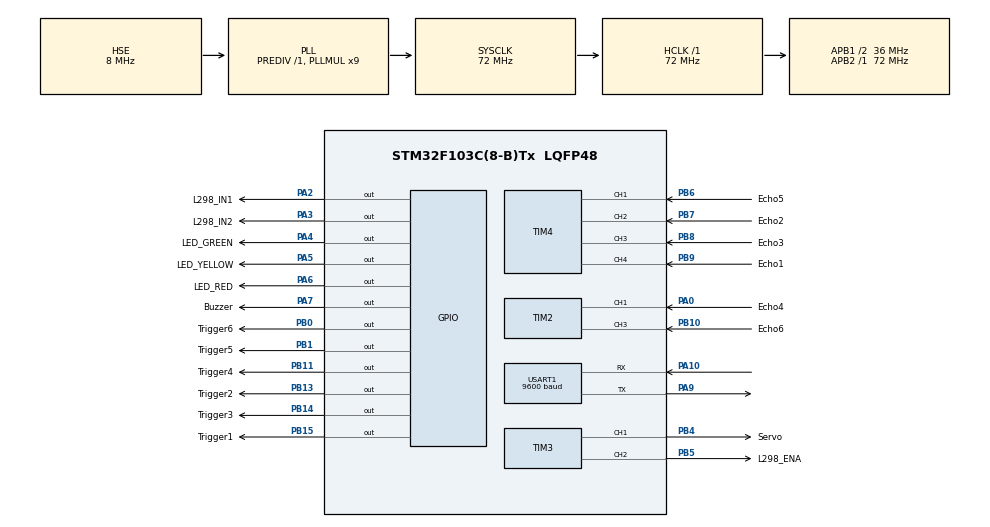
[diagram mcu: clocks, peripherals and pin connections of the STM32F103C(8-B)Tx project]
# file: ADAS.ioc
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Mcu.Family=STM32F1
Mcu.Name=STM32F103C(8-B)Tx
Mcu.Package=LQFP48
NVIC.PriorityGroup=NVIC_PRIORITYGROUP_4
NVIC.TIM2_IRQn=true\:0\:0\:false\:false\:true\:true\:true\:true
NVIC.TIM3_IRQn=true\:0\:0\:false\:false\:true\:true\:true\:true
NVIC.TIM4_IRQn=true\:0\:0\:false\:false\:true\:true\:true\:true
NVIC.USART1_IRQn=true\:0\:0\:false\:false\:true\:true\:true\:true
PA0-WKUP.GPIO_Label=Echo4
PA0-WKUP.Signal=S_TIM2_CH1_ETR
PA10.Mode=Asynchronous
PA10.Signal=USART1_RX
PA13.Mode=Serial_Wire
PA13.Signal=SYS_JTMS-SWDIO
PA14.Mode=Serial_Wire
PA14.Signal=SYS_JTCK-SWCLK
PA2.GPIO_Label=L298_IN1
PA2.Signal=GPIO_Output
PA3.GPIO_Label=L298_IN2
PA3.Signal=GPIO_Output
PA4.GPIO_Label=LED_GREEN
PA4.Signal=GPIO_Output
PA5.GPIO_Label=LED_YELLOW
PA5.Signal=GPIO_Output
PA6.GPIO_Label=LED_RED
PA6.Signal=GPIO_Output
PA7.GPIO_Label=Buzzer
PA7.Signal=GPIO_Output
PA9.Mode=Asynchronous
PA9.Signal=USART1_TX
PB0.GPIO_Label=Trigger6
PB0.Signal=GPIO_Output
PB1.GPIO_Label=Trigger5
PB1.Signal=GPIO_Output
PB10.GPIO_Label=Echo6
PB10.Signal=S_TIM2_CH3
PB11.GPIO_Label=Trigger4
PB11.Signal=GPIO_Output
PB13.GPIO_Label=Trigger2
PB13.Signal=GPIO_Output
PB14.GPIO_Label=Trigger3
PB14.Signal=GPIO_Output
PB15.GPIO_Label=Trigger1
PB15.Signal=GPIO_Output
PB4.GPIO_Label=Servo
PB4.Signal=S_TIM3_CH1
PB5.GPIO_Label=L298_ENA
PB5.Signal=S_TIM3_CH2
PB6.GPIO_Label=Echo5
PB6.Signal=S_TIM4_CH1
PB7.GPIO_Label=Echo2
PB7.Signal=S_TIM4_CH2
PB8.GPIO_Label=Echo3
PB8.Signal=S_TIM4_CH3
PB9.GPIO_Label=Echo1
PB9.Signal=S_TIM4_CH4
PD0-OSC_IN.Mode=HSE-External-Oscillator
PD0-OSC_IN.Signal=RCC_OSC_IN
PD1-OSC_OUT.Mode=HSE-External-Oscillator
PD1-OSC_OUT.Signal=RCC_OSC_OUT
ProjectManager.HeapSize=0x200
ProjectManager.StackSize=0x400
ProjectManager.TargetToolchain=STM32CubeIDE
RCC.AHBFreq_Value=72000000
RCC.APB1CLKDivider=RCC_HCLK_DIV2
RCC.APB1Freq_Value=36000000
RCC.APB1TimFreq_Value=72000000
RCC.APB2Freq_Value=72000000
RCC.APB2TimFreq_Value=72000000
RCC.HCLKFreq_Value=72000000
RCC.PLLMUL=RCC_PLL_MUL9
RCC.PLLSourceVirtual=RCC_PLLSOURCE_HSE
RCC.SYSCLKFreq_VALUE=72000000
RCC.SYSCLKSource=RCC_SYSCLKSOURCE_PLLCLK
RCC.USBFreq_Value=72000000
SH.S_TIM2_CH1_ETR.0=TIM2_CH1,Input_Capture1_from_TI1
SH.S_TIM2_CH3.0=TIM2_CH3,Input_Capture3_from_TI3
SH.S_TIM3_CH1.0=TIM3_CH1,PWM Generation1 CH1
SH.S_TIM3_CH2.0=TIM3_CH2,PWM Generation2 CH2
SH.S_TIM4_CH1.0=TIM4_CH1,Input_Capture1_from_TI1
SH.S_TIM4_CH2.0=TIM4_CH2,Input_Capture2_from_TI2
SH.S_TIM4_CH3.0=TIM4_CH3,Input_Capture3_from_TI3
SH.S_TIM4_CH4.0=TIM4_CH4,Input_Capture4_from_TI4
TIM2.Channel-Input_Capture1_from_TI1=TIM_CHANNEL_1
TIM2.Channel-Input_Capture2_from_TI2=TIM_CHANNEL_2
TIM2.Channel-Input_Capture3_from_TI3=TIM_CHANNEL_3
TIM3.Channel-PWM\ Generation1\ CH1=TIM_CHANNEL_1
TIM3.Channel-PWM\ Generation2\ CH2=TIM_CHANNEL_2
TIM4.Channel-Input_Capture1_from_TI1=TIM_CHANNEL_1
TIM4.Channel-Input_Capture2_from_TI2=TIM_CHANNEL_2
TIM4.Channel-Input_Capture3_from_TI3=TIM_CHANNEL_3
TIM4.Channel-Input_Capture4_from_TI4=TIM_CHANNEL_4
USART1.BaudRate=9600
USART1.VirtualMode=VM_ASYNC
VP_TIM2_VS_ClockSourceINT.Mode=Internal
VP_TIM3_VS_ClockSourceINT.Mode=Internal
VP_TIM4_VS_ClockSourceINT.Mode=Internal
board=custom

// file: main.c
/* USER CODE BEGIN Header */
/**
  ******************************************************************************
  * @file           : main.c
  * @brief          : Main program body
  ******************************************************************************
  * @attention
  *
  * Copyright (c) 2025 STMicroelectronics.
  * All rights reserved.
  *
  * This software is licensed under terms that can be found in the LICENSE file
  * in the root directory of this software component.
  * If no LICENSE file comes with this software, it is provided AS-IS.
  *
  ******************************************************************************
  */
/* USER CODE END Header */
#include "main.h"

/* USER CODE BEGIN PD */
#define DC_MOTOR          0
#define SERVO_MOTOR       0

#define HCSR04_SENSOR1  0   //Left
#define HCSR04_SENSOR2  1   //Forward
#define HCSR04_SENSOR3  2   //Right
#define HCSR04_SENSOR4  3   //Right Blind Spot
#define HCSR04_SENSOR5  4   //Left Blind Spot
#define HCSR04_SENSOR6  5   //Backward

#define GREEN_LED       0
#define YELLOW_LED      1
#define RED_LED         2

#define THRESHOLD_DISTANCE   20.0  //in centimeters
#define SAFE_DISTANCE        30.0
#define ADAPTIVE_DISTANCE    40.0

#define ALARM_OFF            0
#define ALARM_LOW_LEVEL      1
#define ALARM_MEDIUM_LEVEL   2
#define ALARM_HIGH_LEVEL     3

#define FORWARD    			  'F'
#define BACKWARD   			  'B'
#define RIGHT      			  'R'
#define LEFT       			  'L'
#define STOP       			  'S'
#define OBSTACLE_AVOIDANCE    'O'
#define BLIND_SPOT            'D'
#define AUTO_PARKING		  'P'
/* USER CODE END PD */

TIM_HandleTypeDef htim2;
TIM_HandleTypeDef htim3;
TIM_HandleTypeDef htim4;

UART_HandleTypeDef huart1;

/* USER CODE BEGIN PV */
uint8_t current_state = 0;
uint16_t TRIG_Ticks = 0;
uint8_t RX_Data = 0;
uint32_t Current_Time = 0;
float Speed = 0.0;
uint16_t current_speed = 0;
uint8_t received_char = 0;
uint8_t send_flag = 0;
volatile uint8_t obstacleAvoidanceActive = 1;
volatile uint8_t shouldStop = 0;  // Flag to indicate stop command received
typedef enum {
    IDLE,
    CHECK_LEFT_SPACE,
    CHECK_RIGHT_SPACE,
    ALIGNING_LEFT,
    ALIGNING_RIGHT,
    BACKWARD_LEFT,
    BACKWARD_RIGHT,
    FINAL_FORWARD,
    PARKED
} ParkingState;

/* USER CODE END PV */

void SystemClock_Config(void);
static void MX_GPIO_Init(void);
static void MX_TIM2_Init(void);
static void MX_TIM3_Init(void);
static void MX_TIM4_Init(void);
static void MX_USART1_UART_Init(void);
/* USER CODE BEGIN PFP */
static void Sys_Init(void);
void SysTick_CallBack(void);
void move_forward(void);
void move_backward(void);
void move_backward_right(void);
void move_backward_left(void);
void move_right(void);
void move_left(void);
void stop(void);
void Alarm_Subsystem(uint8_t alarmLevel);
float Calculate_Speed(float current_distance, uint32_t current_time);
void Obstacle_Avoidance(float Front_Distance, float Right_Distance, float Left_Distance);
void BlindSpot_Detection(float BlindSpot_Right, float BlindSpot_Left);
void My_Auto_Parking(float Front_Distance, float Right_Distance, float Left_Distance, float Backward_Distance, float BlindSpot_Right, float BlindSpot_Left);
void My_Auto_Parking_FSM();
void UART_SendString(char *string);
void UART_SendFloat(float num);
/* USER CODE END PFP */

int main(void)
{

  /* MCU Configuration--------------------------------------------------------*/

  /* Reset of all peripherals, Initializes the Flash interface and the Systick. */
  HAL_Init();

  /* Configure the system clock */
  SystemClock_Config();

  /* Initialize all configured peripherals */
  MX_GPIO_Init();
  MX_TIM2_Init();
  MX_TIM3_Init();
  MX_TIM4_Init();
  MX_USART1_UART_Init();
  /* USER CODE BEGIN 2 */
  Sys_Init();
  float Front_Distance = 0.0, Right_Distance = 0.0, Left_Distance = 0.0, BlindSpot_Right = 0.0, BlindSpot_Left = 0.0, Backward_Distance = 0.0;
  UART_SendString("Welcome To ADAS!!\r\n");
  /* USER CODE END 2 */

  /* Infinite loop */
  /* USER CODE BEGIN WHILE */
  while (1)
  {
	  SysTick_CallBack();
	  if (HAL_UART_Receive(&huart1, &received_char, sizeof(received_char), 10) == HAL_OK)
	          {
	              // Check the received character
	              if (
	            		  (received_char == 'F') ||
						  (received_char == 'B') ||
						  (received_char == 'G') ||
						  (received_char == 'H') ||
						  (received_char == 'R') ||
						  (received_char == 'L') ||
					  	  (received_char == 'O') ||
						  (received_char == 'P') ||
						  (received_char == 'D') ||
						   received_char == 'S'
					 )
	              {
	            	  current_state = received_char;
	                  // Start sending the character repeatedly
	                  send_flag = 1;
	              }
	              else if (received_char == 'S')
	              {
	            	  current_state = received_char;
	                  // Stop sending the character
	                  send_flag = 0;
	              }
	              HAL_UART_Transmit(&huart1, &received_char, sizeof(received_char), 10);
	          }

	          // If the send flag is set, send the character repeatedly
	          if (send_flag)
	          {
	              uint8_t data_to_send = current_state;  // Character to send
	              switch(data_to_send)
	              	  {
	              	  	  case 'F':
	              	  	  {
	              	  		Front_Distance = HCSR04_Read(HCSR04_SENSOR2);
	              	  		if (Front_Distance > SAFE_DISTANCE)
	              	  		{
	              	  			Alarm_Subsystem(ALARM_LOW_LEVEL);
								UART_SendString("Moving Forward \r\n");
								UART_SendString("Distance = ");
								UART_SendFloat(Front_Distance+1);
								UART_SendString("\r\n");
	              	  			move_forward();
	              	  		}
	              	  		else if ((Front_Distance > THRESHOLD_DISTANCE) && (Front_Distance <= SAFE_DISTANCE))
	              	  		{
	              	  			Alarm_Subsystem(ALARM_MEDIUM_LEVEL);
								UART_SendString("Moving Forward \r\n");
								UART_SendString("Distance = ");
								UART_SendFloat(Front_Distance+1);
								UART_SendString("\r\n");
	              	  			move_forward();
	              	  		}
	              	  		else if (Front_Distance < THRESHOLD_DISTANCE)
	              	  		{
	              	  			Alarm_Subsystem(ALARM_HIGH_LEVEL);
								UART_SendString("Stopped \r\n");
								UART_SendString("Distance = ");
								UART_SendFloat(Front_Distance+1);
								UART_SendString("\r\n");
	              	  			stop();
	              	  		}
	              	  		break;
	              	  	  }

	              	  	  case 'B':
	              	  	  {
		              	  		Backward_Distance = HCSR04_Read(HCSR04_SENSOR6);
		              	  		if (Backward_Distance > SAFE_DISTANCE)
		              	  		{
		              	  			Alarm_Subsystem(ALARM_LOW_LEVEL);
									UART_SendString("Moving Forward \r\n");
									UART_SendString("Distance = ");
									UART_SendFloat(Backward_Distance+1);
									UART_SendString("\r\n");
		              	  			move_backward();
		              	  		}
		              	  		else if ((Backward_Distance > THRESHOLD_DISTANCE) && (Backward_Distance <= SAFE_DISTANCE))
		              	  		{
		              	  			Alarm_Subsystem(ALARM_MEDIUM_LEVEL);
									UART_SendString("Moving Forward \r\n");
									UART_SendString("Distance = ");
									UART_SendFloat(Backward_Distance+1);
									UART_SendString("\r\n");
		              	  			move_backward();
		              	  		}
		              	  		else if (Backward_Distance < THRESHOLD_DISTANCE)
		              	  		{
		              	  			Alarm_Subsystem(ALARM_HIGH_LEVEL);
									UART_SendString("Stopped \r\n");
									UART_SendString("Distance = ");
									UART_SendFloat(Backward_Distance+1);
									UART_SendString("\r\n");
		              	  			stop();
		              	  		}
		              	  		break;
	              	  	  }
	              	  	  case 'G':
	              	  	  {
	              	  		  move_backward_right();
	              	  		  UART_SendString("Moving backward in right direction\r\n");
	              	  		  break;
	              	  	  }
	              	  	  case 'H':
	              	  	  {
	              	  		  move_backward_left();
	              	  		  UART_SendString("Moving backward in left direction\r\n");
	              	  		  break;
	              	  	  }

	              	  	  case 'R':
	              	  	  {

	              	  		Right_Distance = HCSR04_Read(HCSR04_SENSOR1);
	              	  		if (Right_Distance > ADAPTIVE_DISTANCE)
	              	  		{
	              	  			Alarm_Subsystem(ALARM_LOW_LEVEL);
	              	  			UART_SendString("Moving Right\r\n");
	              	  			UART_SendString("Distance = ");
	              	  			UART_SendFloat(Right_Distance+1);
	              	  			UART_SendString("\r\n");
	              	  			move_right();
	              	  		}
	              	  		else if ((Right_Distance > SAFE_DISTANCE) && (Right_Distance <= ADAPTIVE_DISTANCE))
	              	  		{
	              	  			Alarm_Subsystem(ALARM_MEDIUM_LEVEL);
								UART_SendString("Moving Right\r\n");
								UART_SendString("Distance = ");
								UART_SendFloat(Right_Distance+1);
								UART_SendString("\r\n");
	              	  			move_right();
	              	  		}
	              	  		else if (Right_Distance < SAFE_DISTANCE)
	              	  		{
	              	  			Alarm_Subsystem(ALARM_HIGH_LEVEL);
								UART_SendString("Moving Right\r\n");
								UART_SendString("Distance = ");
								UART_SendFloat(Right_Distance+1);
								UART_SendString("\r\n");
	              	  			stop();
	              	  		}
	              			break;
	              	  	  }
	              	  	  case 'L':
	              	  	  {

	              	  		Left_Distance = HCSR04_Read(HCSR04_SENSOR3);
	              	  		if (Left_Distance > ADAPTIVE_DISTANCE)
	              	  		{
	              	  			Alarm_Subsystem(ALARM_LOW_LEVEL);
								UART_SendString("Moving Left\r\n");
								UART_SendString("Distance = ");
								UART_SendFloat(Left_Distance+1);
								UART_SendString("\r\n");
	              	  			move_left();
	              	  		}
	              	  		else if ((Left_Distance > SAFE_DISTANCE) && (Left_Distance <= ADAPTIVE_DISTANCE))
	              	  		{
	              	  			Alarm_Subsystem(ALARM_MEDIUM_LEVEL);
								UART_SendString("Moving Left\r\n");
								UART_SendString("Distance = ");
								UART_SendFloat(Left_Distance+1);
								UART_SendString("\r\n");
	              	  			move_left();
	              	  		}
	              	  		else if (Left_Distance < SAFE_DISTANCE)
	              	  		{
	              	  			Alarm_Subsystem(ALARM_HIGH_LEVEL);
								UART_SendString("Moving Left\r\n");
								UART_SendString("Distance = ");
								UART_SendFloat(Left_Distance+1);
								UART_SendString("\r\n");
	              	  			stop();
	              	  		}
	              			break;
	              	  	  }
	              	  	  case 'S':
	              	  	  {

	              	  		UART_SendString("Stopped\r\n");
	              			stop();
	              			Alarm_Subsystem(ALARM_OFF);
	              			break;
	              	  	  }

	              	  	case 'O':
							Right_Distance = HCSR04_Read(HCSR04_SENSOR1);
							Left_Distance = HCSR04_Read(HCSR04_SENSOR3);
							Front_Distance = HCSR04_Read(HCSR04_SENSOR2);
							Obstacle_Avoidance(Front_Distance, Right_Distance, Left_Distance);
							HAL_Delay(50);

							break;

	              	  	case 'D':
	              	  		BlindSpot_Right = HCSR04_Read(HCSR04_SENSOR4);
	              	  		BlindSpot_Left = HCSR04_Read(HCSR04_SENSOR5);
	              	  		BlindSpot_Detection(BlindSpot_Right, BlindSpot_Left);
	              	  		HAL_Delay(50);
	              	  		break;

	              	  	case 'P':
	              	  		My_Auto_Parking_FSM();
	              	  		HAL_Delay(50);
	              	  		break;

	              	  	default:
	              	  		break;

	              	  }
	              // Small delay to avoid flooding the UART
	              HAL_Delay(100);  // Adjust delay as needed
	          }

    /* USER CODE END WHILE */

  }
}

void SystemClock_Config(void)
{
  RCC_OscInitTypeDef RCC_OscInitStruct = {0};
  RCC_ClkInitTypeDef RCC_ClkInitStruct = {0};

  /** Initializes the RCC Oscillators according to the specified parameters
  * in the RCC_OscInitTypeDef structure.
  */
  RCC_OscInitStruct.OscillatorType = RCC_OSCILLATORTYPE_HSE;
  RCC_OscInitStruct.HSEState = RCC_HSE_ON;
  RCC_OscInitStruct.HSEPredivValue = RCC_HSE_PREDIV_DIV1;
  RCC_OscInitStruct.HSIState = RCC_HSI_ON;
  RCC_OscInitStruct.PLL.PLLState = RCC_PLL_ON;
  RCC_OscInitStruct.PLL.PLLSource = RCC_PLLSOURCE_HSE;
  RCC_OscInitStruct.PLL.PLLMUL = RCC_PLL_MUL9;
  if (HAL_RCC_OscConfig(&RCC_OscInitStruct) != HAL_OK)
  {
    Error_Handler();
  }

  /** Initializes the CPU, AHB and APB buses clocks
  */
  RCC_ClkInitStruct.ClockType = RCC_CLOCKTYPE_HCLK|RCC_CLOCKTYPE_SYSCLK
                              |RCC_CLOCKTYPE_PCLK1|RCC_CLOCKTYPE_PCLK2;
  RCC_ClkInitStruct.SYSCLKSource = RCC_SYSCLKSOURCE_PLLCLK;
  RCC_ClkInitStruct.AHBCLKDivider = RCC_SYSCLK_DIV1;
  RCC_ClkInitStruct.APB1CLKDivider = RCC_HCLK_DIV2;
  RCC_ClkInitStruct.APB2CLKDivider = RCC_HCLK_DIV1;

  if (HAL_RCC_ClockConfig(&RCC_ClkInitStruct, FLASH_LATENCY_2) != HAL_OK)
  {
    Error_Handler();
  }
}

static void MX_TIM2_Init(void)
{

  TIM_ClockConfigTypeDef sClockSourceConfig = {0};
  TIM_MasterConfigTypeDef sMasterConfig = {0};
  TIM_IC_InitTypeDef sConfigIC = {0};

  htim2.Instance = TIM2;
  htim2.Init.Prescaler = 0;
  htim2.Init.CounterMode = TIM_COUNTERMODE_UP;
  htim2.Init.Period = 65535;
  htim2.Init.ClockDivision = TIM_CLOCKDIVISION_DIV1;
  htim2.Init.AutoReloadPreload = TIM_AUTORELOAD_PRELOAD_DISABLE;
  if (HAL_TIM_Base_Init(&htim2) != HAL_OK)
  {
    Error_Handler();
  }
  sClockSourceConfig.ClockSource = TIM_CLOCKSOURCE_INTERNAL;
  if (HAL_TIM_ConfigClockSource(&htim2, &sClockSourceConfig) != HAL_OK)
  {
    Error_Handler();
  }
  if (HAL_TIM_IC_Init(&htim2) != HAL_OK)
  {
    Error_Handler();
  }
  sMasterConfig.MasterOutputTrigger = TIM_TRGO_RESET;
  sMasterConfig.MasterSlaveMode = TIM_MASTERSLAVEMODE_DISABLE;
  if (HAL_TIMEx_MasterConfigSynchronization(&htim2, &sMasterConfig) != HAL_OK)
  {
    Error_Handler();
  }
  sConfigIC.ICPolarity = TIM_INPUTCHANNELPOLARITY_RISING;
  sConfigIC.ICSelection = TIM_ICSELECTION_DIRECTTI;
  sConfigIC.ICPrescaler = TIM_ICPSC_DIV1;
  sConfigIC.ICFilter = 0;
  if (HAL_TIM_IC_ConfigChannel(&htim2, &sConfigIC, TIM_CHANNEL_1) != HAL_OK)
  {
    Error_Handler();
  }
  if (HAL_TIM_IC_ConfigChannel(&htim2, &sConfigIC, TIM_CHANNEL_3) != HAL_OK)
  {
    Error_Handler();
  }

}

static void MX_TIM3_Init(void)
{

  TIM_ClockConfigTypeDef sClockSourceConfig = {0};
  TIM_MasterConfigTypeDef sMasterConfig = {0};
  TIM_OC_InitTypeDef sConfigOC = {0};

  htim3.Instance = TIM3;
  htim3.Init.Prescaler = 0;
  htim3.Init.CounterMode = TIM_COUNTERMODE_UP;
  htim3.Init.Period = 65535;
  htim3.Init.ClockDivision = TIM_CLOCKDIVISION_DIV1;
  htim3.Init.AutoReloadPreload = TIM_AUTORELOAD_PRELOAD_DISABLE;
  if (HAL_TIM_Base_Init(&htim3) != HAL_OK)
  {
    Error_Handler();
  }
  sClockSourceConfig.ClockSource = TIM_CLOCKSOURCE_INTERNAL;
  if (HAL_TIM_ConfigClockSource(&htim3, &sClockSourceConfig) != HAL_OK)
  {
    Error_Handler();
  }
  if (HAL_TIM_PWM_Init(&htim3) != HAL_OK)
  {
    Error_Handler();
  }
  sMasterConfig.MasterOutputTrigger = TIM_TRGO_RESET;
  sMasterConfig.MasterSlaveMode = TIM_MASTERSLAVEMODE_DISABLE;
  if (HAL_TIMEx_MasterConfigSynchronization(&htim3, &sMasterConfig) != HAL_OK)
  {
    Error_Handler();
  }
  sConfigOC.OCMode = TIM_OCMODE_PWM1;
  sConfigOC.Pulse = 0;
  sConfigOC.OCPolarity = TIM_OCPOLARITY_HIGH;
  sConfigOC.OCFastMode = TIM_OCFAST_DISABLE;
  if (HAL_TIM_PWM_ConfigChannel(&htim3, &sConfigOC, TIM_CHANNEL_1) != HAL_OK)
  {
    Error_Handler();
  }
  if (HAL_TIM_PWM_ConfigChannel(&htim3, &sConfigOC, TIM_CHANNEL_2) != HAL_OK)
  {
    Error_Handler();
  }
  HAL_TIM_MspPostInit(&htim3);

}

static void MX_TIM4_Init(void)
{

  TIM_ClockConfigTypeDef sClockSourceConfig = {0};
  TIM_MasterConfigTypeDef sMasterConfig = {0};
  TIM_IC_InitTypeDef sConfigIC = {0};

  htim4.Instance = TIM4;
  htim4.Init.Prescaler = 0;
  htim4.Init.CounterMode = TIM_COUNTERMODE_UP;
  htim4.Init.Period = 65535;
  htim4.Init.ClockDivision = TIM_CLOCKDIVISION_DIV1;
  htim4.Init.AutoReloadPreload = TIM_AUTORELOAD_PRELOAD_DISABLE;
  if (HAL_TIM_Base_Init(&htim4) != HAL_OK)
  {
    Error_Handler();
  }
  sClockSourceConfig.ClockSource = TIM_CLOCKSOURCE_INTERNAL;
  if (HAL_TIM_ConfigClockSource(&htim4, &sClockSourceConfig) != HAL_OK)
  {
    Error_Handler();
  }
  if (HAL_TIM_IC_Init(&htim4) != HAL_OK)
  {
    Error_Handler();
  }
  sMasterConfig.MasterOutputTrigger = TIM_TRGO_RESET;
  sMasterConfig.MasterSlaveMode = TIM_MASTERSLAVEMODE_DISABLE;
  if (HAL_TIMEx_MasterConfigSynchronization(&htim4, &sMasterConfig) != HAL_OK)
  {
    Error_Handler();
  }
  sConfigIC.ICPolarity = TIM_INPUTCHANNELPOLARITY_RISING;
  sConfigIC.ICSelection = TIM_ICSELECTION_DIRECTTI;
  sConfigIC.ICPrescaler = TIM_ICPSC_DIV1;
  sConfigIC.ICFilter = 0;
  if (HAL_TIM_IC_ConfigChannel(&htim4, &sConfigIC, TIM_CHANNEL_1) != HAL_OK)
  {
    Error_Handler();
  }
  if (HAL_TIM_IC_ConfigChannel(&htim4, &sConfigIC, TIM_CHANNEL_2) != HAL_OK)
  {
    Error_Handler();
  }
  if (HAL_TIM_IC_ConfigChannel(&htim4, &sConfigIC, TIM_CHANNEL_3) != HAL_OK)
  {
    Error_Handler();
  }
  if (HAL_TIM_IC_ConfigChannel(&htim4, &sConfigIC, TIM_CHANNEL_4) != HAL_OK)
  {
    Error_Handler();
  }

}

static void MX_USART1_UART_Init(void)
{

  huart1.Instance = USART1;
  huart1.Init.BaudRate = 9600;
  huart1.Init.WordLength = UART_WORDLENGTH_8B;
  huart1.Init.StopBits = UART_STOPBITS_1;
  huart1.Init.Parity = UART_PARITY_NONE;
  huart1.Init.Mode = UART_MODE_TX_RX;
  huart1.Init.HwFlowCtl = UART_HWCONTROL_NONE;
  huart1.Init.OverSampling = UART_OVERSAMPLING_16;
  if (HAL_UART_Init(&huart1) != HAL_OK)
  {
    Error_Handler();
  }

}

static void MX_GPIO_Init(void)
{
  GPIO_InitTypeDef GPIO_InitStruct = {0};

  /* GPIO Ports Clock Enable */
  __HAL_RCC_GPIOD_CLK_ENABLE();
  __HAL_RCC_GPIOA_CLK_ENABLE();
  __HAL_RCC_GPIOB_CLK_ENABLE();

  /*Configure GPIO pin Output Level */
  HAL_GPIO_WritePin(GPIOA, L298_IN1_Pin|L298_IN2_Pin|LED_GREEN_Pin|LED_YELLOW_Pin
                          |LED_RED_Pin|Buzzer_Pin, GPIO_PIN_RESET);

  /*Configure GPIO pin Output Level */
  HAL_GPIO_WritePin(GPIOB, Trigger6_Pin|Trigger5_Pin|Trigger4_Pin|Trigger2_Pin
                          |Trigger3_Pin|Trigger1_Pin, GPIO_PIN_RESET);

  /*Configure GPIO pins : L298_IN1_Pin L298_IN2_Pin LED_GREEN_Pin LED_YELLOW_Pin
                           LED_RED_Pin Buzzer_Pin */
  GPIO_InitStruct.Pin = L298_IN1_Pin|L298_IN2_Pin|LED_GREEN_Pin|LED_YELLOW_Pin
                          |LED_RED_Pin|Buzzer_Pin;
  GPIO_InitStruct.Mode = GPIO_MODE_OUTPUT_PP;
  GPIO_InitStruct.Pull = GPIO_NOPULL;
  GPIO_InitStruct.Speed = GPIO_SPEED_FREQ_LOW;
  HAL_GPIO_Init(GPIOA, &GPIO_InitStruct);

  /*Configure GPIO pins : Trigger6_Pin Trigger5_Pin Trigger4_Pin Trigger2_Pin
                           Trigger3_Pin Trigger1_Pin */
  GPIO_InitStruct.Pin = Trigger6_Pin|Trigger5_Pin|Trigger4_Pin|Trigger2_Pin
                          |Trigger3_Pin|Trigger1_Pin;
  GPIO_InitStruct.Mode = GPIO_MODE_OUTPUT_PP;
  GPIO_InitStruct.Pull = GPIO_NOPULL;
  GPIO_InitStruct.Speed = GPIO_SPEED_FREQ_LOW;
  HAL_GPIO_Init(GPIOB, &GPIO_InitStruct);

}

/* USER CODE BEGIN 4 */
/*------------------------- (Initialization) ---------------------------------*/
static void Sys_Init(void)
{
    DC_MOTOR_Init(DC_MOTOR);
    SERVO_Init(SERVO_MOTOR);
	HCSR04_Init(HCSR04_SENSOR1, &htim4);
	HCSR04_Init(HCSR04_SENSOR2, &htim4);
	HCSR04_Init(HCSR04_SENSOR3, &htim4);
	HCSR04_Init(HCSR04_SENSOR4, &htim2);
	HCSR04_Init(HCSR04_SENSOR5, &htim4);
	HCSR04_Init(HCSR04_SENSOR6, &htim2);
    Buzzer_Init();
    LED_Init();
}
/*------------------------- (Initialization end) ---------------------------------*/

/*------------------------- (Interrupt handling start) ---------------------------------*/

void HAL_TIM_IC_CaptureCallback(TIM_HandleTypeDef *htim)
{
	HCSR04_TMR_IC_ISR(htim);
}

void HAL_TIM_PeriodElapsedCallback(TIM_HandleTypeDef* htim)
{
	HCSR04_TMR_OVF_ISR(htim);
}

void SysTick_CallBack(void)
{
	TRIG_Ticks++;
    if(TRIG_Ticks >= 10) // Each 10msec
    {
    	HCSR04_Trigger(HCSR04_SENSOR1);
    	HCSR04_Trigger(HCSR04_SENSOR2);
    	HCSR04_Trigger(HCSR04_SENSOR3);
    	HCSR04_Trigger(HCSR04_SENSOR4);
    	HCSR04_Trigger(HCSR04_SENSOR5);
    	HCSR04_Trigger(HCSR04_SENSOR6);
    	TRIG_Ticks = 0;
    }
}
/*------------------------- (Interrupt handling end) ---------------------------------*/

void move_forward(void)
{
	DC_MOTOR_Start(DC_MOTOR, DIR_CCW, 0XFFFF);
	SERVO_MoveTo(SERVO_MOTOR, 62);
}

void move_backward(void)
{
	DC_MOTOR_Start(DC_MOTOR, DIR_CW, 0XFFFF);
	SERVO_MoveTo(SERVO_MOTOR, 62);
}

void move_backward_right(void)
{
	DC_MOTOR_Start(DC_MOTOR, DIR_CW, 0XFFFF);
	SERVO_MoveTo(SERVO_MOTOR, 115);
}

void move_backward_left(void)
{
	DC_MOTOR_Start(DC_MOTOR, DIR_CW, 0XFFFF);
	SERVO_MoveTo(SERVO_MOTOR, 10);
}

void move_right(void)
{
	DC_MOTOR_Start(DC_MOTOR, DIR_CCW, 0XFFFF);
	SERVO_MoveTo(SERVO_MOTOR, 115);
}

void move_left(void)
{
	DC_MOTOR_Start(DC_MOTOR, DIR_CCW, 0XFFFF);
	SERVO_MoveTo(SERVO_MOTOR, 10);
}

void stop(void)
{
	DC_MOTOR_Start(DC_MOTOR, DIR_CW, 0);
	SERVO_MoveTo(SERVO_MOTOR, 62);
}

void Alarm_Subsystem(uint8_t alarmLevel) {
	if (ALARM_OFF == alarmLevel) {
		Buzzer_OFF();
		LED_OFF(GREEN_LED);
		LED_OFF(YELLOW_LED);
		LED_OFF(RED_LED);
	} else if (ALARM_LOW_LEVEL == alarmLevel) {
		Buzzer_OFF();
		LED_ON(GREEN_LED);
		LED_OFF(YELLOW_LED);
		LED_OFF(RED_LED);
	} else if (ALARM_MEDIUM_LEVEL == alarmLevel) {
		Buzzer_OFF();
		LED_OFF(GREEN_LED);
		LED_ON(YELLOW_LED);
		LED_OFF(RED_LED);
	} else if(ALARM_HIGH_LEVEL == alarmLevel){
		Buzzer_ON();
		LED_OFF(GREEN_LED);
		LED_OFF(YELLOW_LED);
		LED_ON(RED_LED);
	} else{
		/* Nothing */
	}
}

void HAL_UART_RxCpltCallback(UART_HandleTypeDef *huart) {
    if(huart->Instance == USART1) {  // e.g., USART1, USART2, etc.
        char receivedChar = current_state;  // Where you store received bytes

        if(receivedChar == 'S') {
            shouldStop = 1;  // Set the stop flag
        }

        // Restart UART reception
        HAL_UART_Receive_IT(&huart1, &current_state, 1);
    }
}
void HAL_GPIO_EXTI_Callback(uint16_t GPIO_Pin) {
    if (current_state == 'S') {

        obstacleAvoidanceActive = 0;
        stop();
    }
}
void Obstacle_Avoidance(float Front_Distance, float Right_Distance, float Left_Distance) {
	if(shouldStop) {
	        shouldStop = 0;  // Reset the flag
	        stop();
	        return;
	    }

	    static uint8_t avoidanceState = 0; // 0=normal, 1=backing up, 2=turning
	    static uint32_t maneuverEndTime = 0;

	    // Check if we're in the middle of a maneuver
	    if(avoidanceState > 0) {
	        if(HAL_GetTick() < maneuverEndTime) {
	            // Check for stop command during maneuver too
	            if(shouldStop) {
	                shouldStop = 0;
	                stop();
	                return;
	            }
	            return; // Still executing maneuver
	        } else {
	            // Maneuver complete, return to normal state
	            avoidanceState = 0;
	            stop();
	            HAL_Delay(100); // Small delay to get fresh sensor readings
	            return;
	        }
	    }

    // Perform obstacle avoidance logic
    if (Front_Distance < SAFE_DISTANCE) {
        // Front obstacle detected - start avoidance maneuver
        UART_SendString("Front obstacle - moving backward\r\n");
        stop();
        move_backward();
        avoidanceState = 1;
        maneuverEndTime = HAL_GetTick() + 3000; // Back up for 3 seconds
    }
    else if (Right_Distance < SAFE_DISTANCE || Left_Distance < SAFE_DISTANCE) {
        // Side obstacle detected - choose best direction
        if (Right_Distance < Left_Distance) {
            UART_SendString("Right closer - moving left\r\n");
            move_left();
        } else {
            UART_SendString("Left closer - moving right\r\n");
            move_right();
        }
        avoidanceState = 2;
        maneuverEndTime = HAL_GetTick() + 3000; // Turn for 3 seconds
    }
    else {
        // No obstacle detected - move forward
        UART_SendString("Moving forward\r\n");
        UART_SendString("Distance = ");
        UART_SendFloat(Front_Distance);
        UART_SendString("\r\n");
        move_forward();
    }
}

void BlindSpot_Detection(float BlindSpot_Right, float BlindSpot_Left){
	//For blind spot detection
	if ((BlindSpot_Right > THRESHOLD_DISTANCE) && (BlindSpot_Right < SAFE_DISTANCE)){
		Alarm_Subsystem(ALARM_MEDIUM_LEVEL);
		UART_SendString("Take care of your right!! \r\n");
		UART_SendString("Your blind spot is not safe\r\n");
	} else if (BlindSpot_Right < THRESHOLD_DISTANCE){
		Alarm_Subsystem(ALARM_HIGH_LEVEL);
		UART_SendString("Danger on your right!!!\r\n");
	} else if ((BlindSpot_Left > THRESHOLD_DISTANCE) && (BlindSpot_Left < SAFE_DISTANCE)){
		Alarm_Subsystem(ALARM_MEDIUM_LEVEL);
		UART_SendString("Take care of your left!! \r\n");
		UART_SendString("Your blind spot is not safe\r\n");
	}  else if (BlindSpot_Left < THRESHOLD_DISTANCE){
		Alarm_Subsystem(ALARM_HIGH_LEVEL);
		UART_SendString("Danger on your left!!!\r\n");
	} else{
		UART_SendString("Your blind spots are safe\r\n");
		Alarm_Subsystem(ALARM_LOW_LEVEL);
	}
}

void My_Auto_Parking(float Front_Distance, float Right_Distance, float Left_Distance, float Backward_Distance, float BlindSpot_Right, float BlindSpot_Left)
{
	if ((BlindSpot_Left < THRESHOLD_DISTANCE) && (Left_Distance < THRESHOLD_DISTANCE))
	{
		UART_SendString("Moving Forward\r\n");
		move_forward();
		HAL_Delay(2000);
	}
	else if ((Left_Distance < THRESHOLD_DISTANCE) && (BlindSpot_Left > SAFE_DISTANCE))
	{
		UART_SendString("Moving Right\r\n");
		move_right();
		HAL_Delay(2000);
		UART_SendString("Moving Backward with left direction\r\n");
		move_backward_left();
		HAL_Delay(4000);
		if (Backward_Distance < SAFE_DISTANCE)
		{
			UART_SendString("Moving Backward with right direction\r\n");
			move_backward_right();
			HAL_Delay(3000);
			if (Backward_Distance < THRESHOLD_DISTANCE)
			{
				UART_SendString("Moving Forward\r\n");
				move_forward();
				HAL_Delay(50);
				UART_SendString("Parking Successfully\r\n");
			}
		}
	}

	else if ((BlindSpot_Right < THRESHOLD_DISTANCE) && (Right_Distance < THRESHOLD_DISTANCE))
		{
		UART_SendString("Moving Forward\r\n");
		move_forward();
		HAL_Delay(2000);
		}
		else if ((Right_Distance < THRESHOLD_DISTANCE) && (BlindSpot_Right > SAFE_DISTANCE))
		{
			UART_SendString("Moving Left\r\n");
			move_left();
			HAL_Delay(3000);
			UART_SendString("Moving Backward with right direction\r\n");
			move_backward_right();
			HAL_Delay(4000);
			if (Backward_Distance < SAFE_DISTANCE)
			{
				UART_SendString("Moving Backward with left direction\r\n");
				HAL_Delay(3000);
				if (Backward_Distance < THRESHOLD_DISTANCE)
				{
					UART_SendString("Moving Forward\r\n");
					HAL_Delay(50);
					UART_SendString("Parking Successfully\r\n");
				}
			}
		}

}

void My_Auto_Parking_FSM()
{
    static ParkingState state = IDLE;

    float Front_Distance 	= HCSR04_Read(HCSR04_SENSOR2);
    float Right_Distance 	= HCSR04_Read(HCSR04_SENSOR1);
    float Left_Distance 	= HCSR04_Read(HCSR04_SENSOR3);
    float Backward_Distance = HCSR04_Read(HCSR04_SENSOR6);
    float BlindSpot_Right 	= HCSR04_Read(HCSR04_SENSOR4);
    float BlindSpot_Left 	= HCSR04_Read(HCSR04_SENSOR5);

    switch(state)
    {
        case IDLE:
            if ((Left_Distance < THRESHOLD_DISTANCE) && (BlindSpot_Left > SAFE_DISTANCE))
            {
                UART_SendString("Left space detected. Aligning...\r\n");
                state = ALIGNING_LEFT;
            }
            else if ((Right_Distance < THRESHOLD_DISTANCE) && (BlindSpot_Right > SAFE_DISTANCE))
            {
                UART_SendString("Right space detected. Aligning...\r\n");
                state = ALIGNING_RIGHT;
            }
            break;

        case ALIGNING_LEFT:
            move_right();
            HAL_Delay(2000);
            stop();
            state = BACKWARD_LEFT;
            break;

        case ALIGNING_RIGHT:
            move_left();
            HAL_Delay(2000);
            stop();
            state = BACKWARD_RIGHT;
            break;

        case BACKWARD_LEFT:
            move_backward_left();
            HAL_Delay(3000);
            stop();
            Backward_Distance = HCSR04_Read(HCSR04_SENSOR6);

            if (Backward_Distance < SAFE_DISTANCE)
                state = BACKWARD_RIGHT;
            else
                state = FINAL_FORWARD;
            break;

        case BACKWARD_RIGHT:
            move_backward_right();
            HAL_Delay(3000);
            stop();
            Backward_Distance = HCSR04_Read(HCSR04_SENSOR6);

            if (Backward_Distance < THRESHOLD_DISTANCE)
                state = FINAL_FORWARD;
            else
                state = PARKED;
            break;

        case FINAL_FORWARD:
            move_forward();
            HAL_Delay(300);
            stop();
            state = PARKED;
            break;

        case PARKED:
            UART_SendString("Parking Completed Successfully\r\n");
            stop();
            // Reset to IDLE if you want to allow re-parking later
            // state = IDLE;
            break;
    }
}

void UART_SendString(char *string){
	uint16_t length = 0;
	while(string[length] != '\0'){
		length++;
	}

	HAL_UART_Transmit(&huart1, (uint8_t *)string, length, HAL_MAX_DELAY);
}
void UART_SendFloat(float num){
    char buffer[20];               // Buffer to hold the string representation of the float
    sprintf(buffer, "%.2f", num);  // Convert float to string with 2 decimal places
    UART_SendString(buffer);       // Send the string via UART
}
/* USER CODE END 4 */

void Error_Handler(void)
{
  __disable_irq();
  while (1)
  {
  }
}
